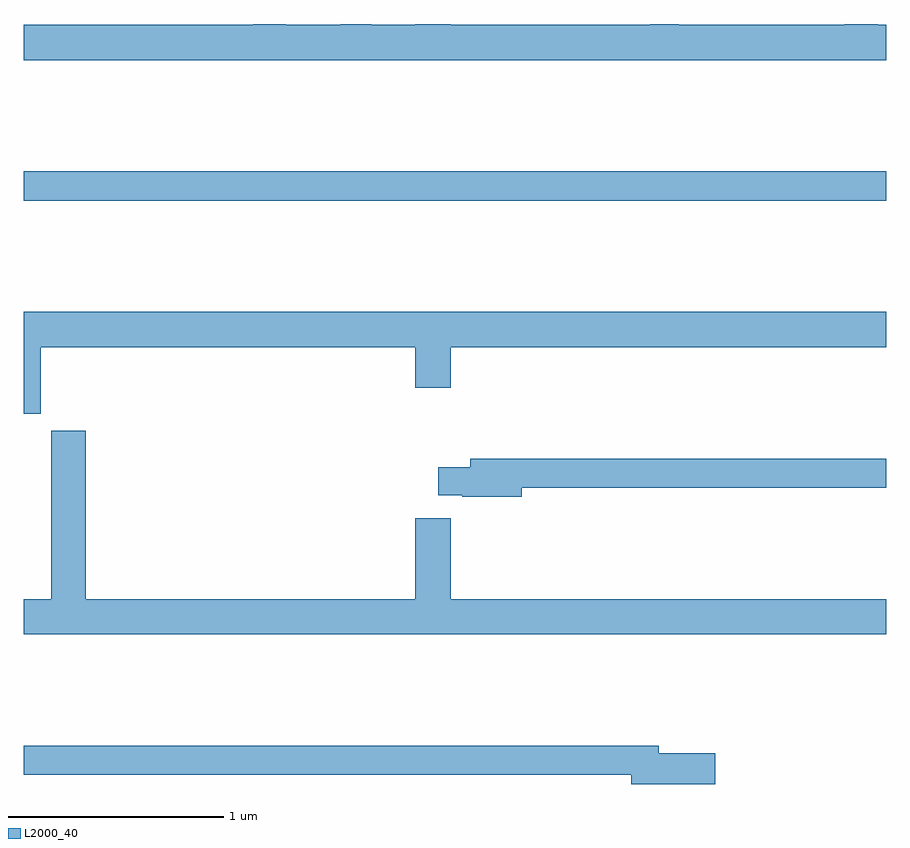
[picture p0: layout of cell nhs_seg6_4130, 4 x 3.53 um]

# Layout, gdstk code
import gdstk
lib = gdstk.Library(unit=1e-6, precision=1e-09)
def R(c, l, rs):  # rectangles x0, y0, x1, y1
    for r in rs: c.add(gdstk.rectangle(r[:2], r[2:], *l))
def P(c, l, *ps):  # polygons
    for p in ps: c.add(gdstk.Polygon(p, *l))
L2000_40 = (2000, 40)

nhs_seg6_4130 = lib.new_cell('nhs_seg6_4130')
R(nhs_seg6_4130, L2000_40, [(355,950.68,359,950.816)])
P(nhs_seg6_4130, L2000_40, [(359,951.496),(358.961,951.496),(358.961,951.5),(358.808,951.5),(358.808,951.496),(358.037,951.496),(358.037,951.5),(357.907,951.5),(357.907,951.496),(356.98,951.496),(356.98,951.5),(356.816,951.5),(356.816,951.496),(356.611,951.496),(356.611,951.5),(356.471,951.5),(356.471,951.496),(356.215,951.496),(356.215,951.5),(356.063,951.5),(356.063,951.496),(355,951.496),(355,951.332),(359,951.332)],
  [(355.078,950),(356.816,950),(356.816,949.812),(356.98,949.812),(356.98,950),(359,950),(359,950.164),(355,950.164),(355,949.691),(355.078,949.691)],
  [(359,948.832),(356.98,948.832),(356.98,949.207),(356.816,949.207),(356.816,948.832),(355.286,948.832),(355.286,949.612),(355.126,949.612),(355.126,948.832),(355,948.832),(355,948.668),(359,948.668)],
  [(357.31,949.348),(359,949.348),(359,949.484),(357.071,949.484),(357.071,949.443),(356.922,949.443),(356.922,949.313),(357.034,949.313),(357.034,949.306),(357.31,949.306)],
  [(358.207,948.116),(357.946,948.116),(357.946,948.152),(355,948.152),(355,948.016),(357.818,948.016),(357.818,947.974),(358.207,947.974)])

lib.write_gds('nhs_seg6_4130.gds')
